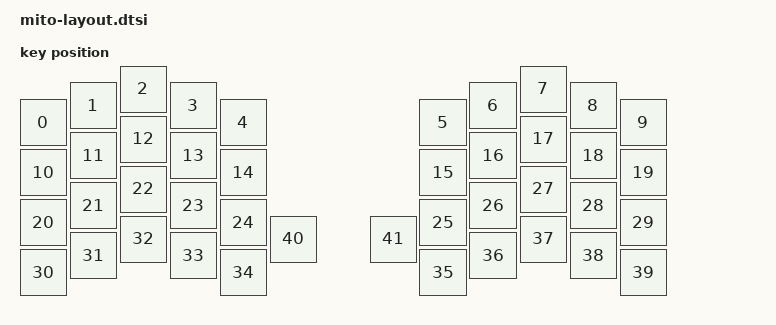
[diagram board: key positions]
#include <physical_layouts.dtsi>

/ {
    physical_layout0: physical_layout_0 {
        compatible = "zmk,physical-layout";
        display-name = "Default";
        
        keys  //                     w   h    x    y     rot    rx    ry
            = <&key_physical_attrs 100 100    0   67       0     0     0>
            , <&key_physical_attrs 100 100  100   33       0     0     0>
            , <&key_physical_attrs 100 100  200    0       0     0     0>
            , <&key_physical_attrs 100 100  300   33       0     0     0>
            , <&key_physical_attrs 100 100  400   67       0     0     0>
            , <&key_physical_attrs 100 100  800   67       0     0     0>
            , <&key_physical_attrs 100 100  900   33       0     0     0>
            , <&key_physical_attrs 100 100 1000    0       0     0     0>
            , <&key_physical_attrs 100 100 1100   33       0     0     0>
            , <&key_physical_attrs 100 100 1200   67       0     0     0>
            , <&key_physical_attrs 100 100    0  167       0     0     0>
            , <&key_physical_attrs 100 100  100  133       0     0     0>
            , <&key_physical_attrs 100 100  200  100       0     0     0>
            , <&key_physical_attrs 100 100  300  133       0     0     0>
            , <&key_physical_attrs 100 100  400  167       0     0     0>
            , <&key_physical_attrs 100 100  800  167       0     0     0>
            , <&key_physical_attrs 100 100  900  133       0     0     0>
            , <&key_physical_attrs 100 100 1000  100       0     0     0>
            , <&key_physical_attrs 100 100 1100  133       0     0     0>
            , <&key_physical_attrs 100 100 1200  167       0     0     0>
            , <&key_physical_attrs 100 100    0  267       0     0     0>
            , <&key_physical_attrs 100 100  100  233       0     0     0>
            , <&key_physical_attrs 100 100  200  200       0     0     0>
            , <&key_physical_attrs 100 100  300  233       0     0     0>
            , <&key_physical_attrs 100 100  400  267       0     0     0>
            , <&key_physical_attrs 100 100  800  267       0     0     0>
            , <&key_physical_attrs 100 100  900  233       0     0     0>
            , <&key_physical_attrs 100 100 1000  200       0     0     0>
            , <&key_physical_attrs 100 100 1100  233       0     0     0>
            , <&key_physical_attrs 100 100 1200  267       0     0     0>
            , <&key_physical_attrs 100 100    0  367       0     0     0>
            , <&key_physical_attrs 100 100  100  333       0     0     0>
            , <&key_physical_attrs 100 100  200  300       0     0     0>
            , <&key_physical_attrs 100 100  300  333       0     0     0>
            , <&key_physical_attrs 100 100  400  367       0     0     0>
            , <&key_physical_attrs 100 100  800  367       0     0     0>
            , <&key_physical_attrs 100 100  900  333       0     0     0>
            , <&key_physical_attrs 100 100 1000  300       0     0     0>
            , <&key_physical_attrs 100 100 1100  333       0     0     0>
            , <&key_physical_attrs 100 100 1200  367       0     0     0>
            , <&key_physical_attrs 100 100  500  300       0     0     0>
            , <&key_physical_attrs 100 100  700  300       0     0     0>
            ;
    };
};
